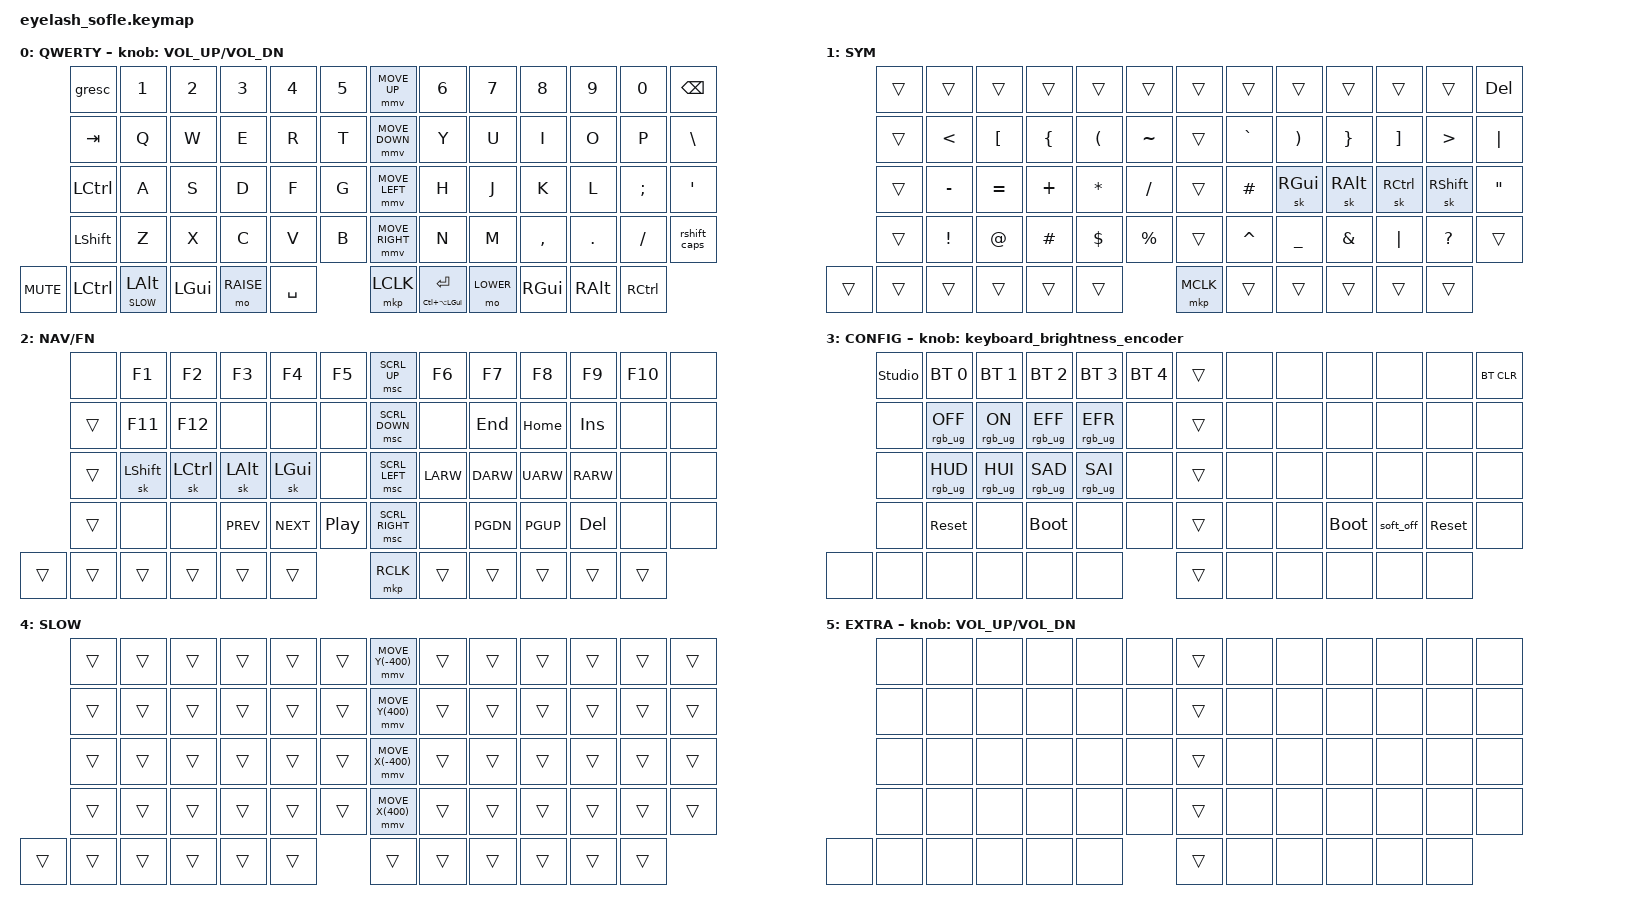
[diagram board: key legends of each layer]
#define ZMK_POINTING_DEFAULT_MOVE_VAL 1200  // 600
#define ZMK_POINTING_DEFAULT_SCRL_VAL 25   // 10

#include <input/processors.dtsi>
#include <zephyr/dt-bindings/input/input-event-codes.h>
#include <behaviors.dtsi>
#include <dt-bindings/zmk/bt.h>
#include <dt-bindings/zmk/ext_power.h>
#include <dt-bindings/zmk/keys.h>
#include <dt-bindings/zmk/pointing.h>
#include <dt-bindings/zmk/rgb.h>
#include <dt-bindings/zmk/outputs.h>

#define DEF 0
#define LOWER 1
#define RAISE 2
#define CONFIG 3
#define SLOW 4

#define HYP LS(LC(LA(LGUI)))
#define MEH LC(LA(LGUI))
#define HYPER(key) LS(LC(LA(LG(key))))
#define MO_TOG(layer) &mo_tog layer layer
#define SLOW_ALT &slow_lt SLOW LALT
#define SC_UP &msc SCRL_UP
#define SC_DN &msc SCRL_DOWN
#define SC_LT &msc SCRL_LEFT
#define SC_RT &msc SCRL_RIGHT

&mmv_input_listener { input-processors = <&zip_xy_scaler 2 1>; };

&msc_input_listener { input-processors = <&zip_scroll_scaler 2 1>; };

&msc {
    acceleration-exponent = <1>;      // 0
    time-to-max-speed-ms = <100>;       // 300
    delay-ms = <0>;                   // 0
};

&mmv {
    time-to-max-speed-ms = <150>;
    acceleration-exponent = <1>;
    trigger-period-ms = <16>;
};

&mt {
  tapping-term-ms = <200>;
};

/ {
    behaviors {
      mo_tog: behavior_mo_tog {
        compatible = "zmk,behavior-hold-tap";
        label = "mo_tog";
        #binding-cells = <2>;
        flavor = "hold-preferred";
        tapping-term-ms = <200>;
        bindings = <&mo>, <&tog>;
      };

      slow_lt: behavior_slow_lt {
        compatible = "zmk,behavior-hold-tap";
        label = "slow_lt";
        #binding-cells = <2>;
        flavor = "hold-preferred";
        tapping-term-ms = <200>;
        bindings = <&mo>, <&kp>;
      };

      rshift_caps: tap_dance_0 {
        compatible = "zmk,behavior-tap-dance";
        label = "rshift_caps";
        #binding-cells = <0>;
        tapping-term-ms = <200>;
        bindings = <&kp RSHFT>, <&kp CAPS>;
      };
    };

    conditional_layers {
      compatible = "zmk,conditional-layers";
      tri_layer { 
        if-layers = <LOWER RAISE>;
        then-layer = <CONFIG>;
      };
    };

    keyboard_brightness_encoder: keyboard_brightness_encoder {
        compatible = "zmk,behavior-sensor-rotate";
        #sensor-binding-cells = <0>;
        bindings = <&rgb_ug RGB_BRI>, <&rgb_ug RGB_BRD>;
        tap-ms = <100>;
    };

    combos {
      compatible = "zmk,combos";
      combo_esc {
        timeout-ms = <50>;
        key-positions = <34 35>;
        layers = <0>;
        bindings = <&kp ESC>;
      };
    };

    keymap {
        compatible = "zmk,keymap";

        default_layer {
            bindings = <
            &gresc      &kp N1     &kp N2    &kp N3    &kp N4    &kp N5        &mmv MOVE_UP       &kp N6       &kp N7     &kp N8     &kp N9    &kp N0     &kp BACKSPACE
            &kp TAB     &kp Q      &kp W     &kp E     &kp R     &kp T         &mmv MOVE_DOWN     &kp Y        &kp U      &kp I      &kp O     &kp P      &kp BSLH
            &kp LCTRL   &kp A      &kp S     &kp D     &kp F     &kp G         &mmv MOVE_LEFT     &kp H        &kp J      &kp K      &kp L     &kp SEMI   &kp SQT
            &kp LSHFT   &kp Z      &kp X     &kp C     &kp V     &kp B         &mmv MOVE_RIGHT    &kp N        &kp M      &kp COMMA  &kp DOT   &kp FSLH   &rshift_caps
&kp C_MUTE              &kp LCTRL  SLOW_ALT  &kp LGUI  &mo RAISE &kp SPACE     &mkp LCLK          &mt MEH RET  &mo LOWER  &kp RGUI   &kp RALT  &kp RCTRL
            >;

            sensor-bindings = <&inc_dec_kp C_VOLUME_UP C_VOL_DN>;
            display-name = "QWERTY";
        };

        lower_layer {
            bindings = <
         &trans   &trans     &trans     &trans     &trans    &trans       &trans    &trans     &trans     &trans    &trans     &trans     &kp DELETE
         &trans   &kp LT     &kp LBKT   &kp LBRC   &kp LPAR  &kp TILDE    &trans    &kp GRAVE  &kp RPAR   &kp RBRC  &kp RBKT   &kp GT     &kp PIPE
         &trans   &kp MINUS  &kp EQUAL  &kp PLUS   &kp STAR  &kp FSLH     &trans    &kp POUND  &sk RGUI   &sk RALT  &sk RCTRL  &sk RSHFT  &kp DQT
         &trans   &kp EXCL   &kp AT     &kp POUND  &kp DLLR  &kp PRCNT    &trans    &kp CARET  &kp UNDER  &kp AMPS  &kp PIPE   &kp QMARK  &trans
&trans            &trans     &trans     &trans     &trans    &trans       &mkp MCLK &trans     &trans     &trans    &trans     &trans
            >;

            display-name = "SYM";
        };

        raise_layer {
            bindings = <
        &none   &kp F1     &kp F2     &kp F3      &kp F4      &kp F5      SC_UP        &kp F6    &kp F7    &kp F8    &kp F9      &kp F10  &none 
        &trans  &kp F11    &kp F12    &none       &none       &none       SC_DN        &none     &kp END   &kp HOME  &kp INSERT  &none    &none
        &trans  &sk LSHFT  &sk LCTRL  &sk LALT    &sk LGUI    &none       SC_LT        &kp LARW  &kp DARW  &kp UARW  &kp RARW    &none    &none
        &trans  &none      &none      &kp C_PREV  &kp C_NEXT  &kp C_PP    SC_RT        &none     &kp PGDN  &kp PGUP  &kp DELETE  &none    &none 
&trans          &trans     &trans     &trans      &trans      &trans      &mkp RCLK    &trans    &trans    &trans    &trans      &trans  
            >;
            display-name = "NAV/FN";
        };

        config_layer {
            bindings = <
       &studio_unlock  &bt BT_SEL 0     &bt BT_SEL 1     &bt BT_SEL 2     &bt BT_SEL 3     &bt BT_SEL 4    &trans    &none  &none  &none        &none      &none       &bt BT_CLR
       &none           &rgb_ug RGB_OFF  &rgb_ug RGB_ON   &rgb_ug RGB_EFF  &rgb_ug RGB_EFR  &none           &trans    &none  &none  &none        &none      &none       &none
       &none           &rgb_ug RGB_HUD  &rgb_ug RGB_HUI  &rgb_ug RGB_SAD  &rgb_ug RGB_SAI  &none           &trans    &none  &none  &none        &none      &none       &none 
       &none           &sys_reset       &none            &bootloader      &none            &none           &trans    &none  &none  &bootloader  &soft_off  &sys_reset  &none 
&none                  &none            &none            &none            &none            &none           &trans    &none  &none  &none        &none      &none 
            >;
            display-name = "CONFIG";
            sensor-bindings = <&keyboard_brightness_encoder>;
        };

        slow_layer {
            bindings = <
       &trans  &trans  &trans  &trans  &trans  &trans    &mmv MOVE_Y(-400)  &trans  &trans  &trans  &trans  &trans  &trans
       &trans  &trans  &trans  &trans  &trans  &trans    &mmv MOVE_Y(400)   &trans  &trans  &trans  &trans  &trans  &trans
       &trans  &trans  &trans  &trans  &trans  &trans    &mmv MOVE_X(-400)  &trans  &trans  &trans  &trans  &trans  &trans
       &trans  &trans  &trans  &trans  &trans  &trans    &mmv MOVE_X(400)   &trans  &trans  &trans  &trans  &trans  &trans
&trans         &trans  &trans  &trans  &trans  &trans    &trans             &trans  &trans  &trans  &trans  &trans
            >;
            display-name = "SLOW";
        };

        extra {
            bindings = <
       &none   &none  &none  &none  &none  &none    &trans    &none  &none  &none  &none  &none  &none
       &none   &none  &none  &none  &none  &none    &trans    &none  &none  &none  &none  &none  &none
       &none   &none  &none  &none  &none  &none    &trans    &none  &none  &none  &none  &none  &none 
       &none   &none  &none  &none  &none  &none    &trans    &none  &none  &none  &none  &none  &none 
&none          &none  &none  &none  &none  &none    &trans    &none  &none  &none  &none  &none 
            >;
            display-name = "EXTRA";
            sensor-bindings = <&inc_dec_kp C_VOLUME_UP C_VOL_DN>;
        };
    };
};
